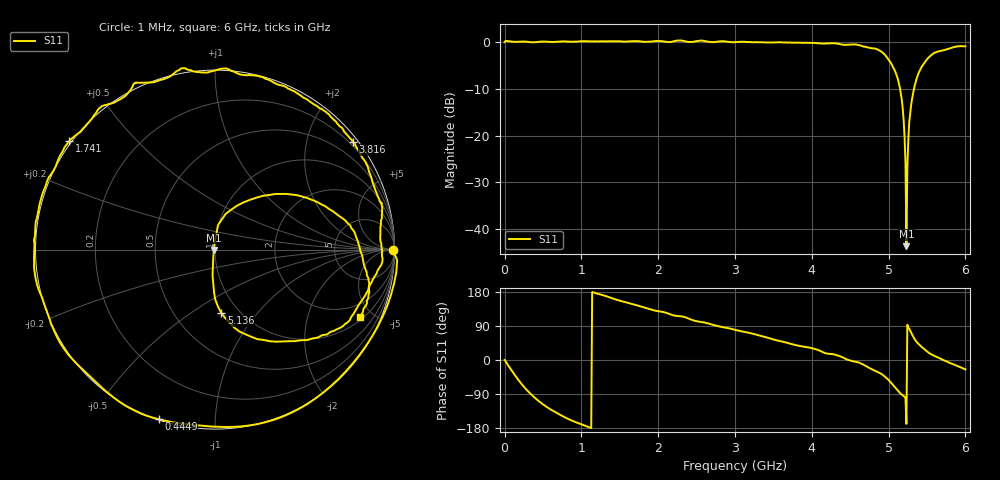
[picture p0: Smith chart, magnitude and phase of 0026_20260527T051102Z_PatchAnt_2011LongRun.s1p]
# Hz S RI R 50
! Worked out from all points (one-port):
!   501 points, 1 MHz to 6 GHz, reference 50 ohm
!   lowest |S11| = -43.6 dB at 5.232 GHz (marker M1), VSWR 1.01, Z = 49.4 - j0.13 ohm
!   |S11| at or under -10 dB: 5.149 GHz to 5.331 GHz (182.4 MHz wide, 3.48 % of centre)
!   S11 on the Smith chart (normalised r, x): 1 MHz: open; 444.9 MHz: 0.00, -0.72; 1.741 GHz: -0.01, +0.33; 3.816 GHz: 0.13, +2.90; 5.136 GHz: 0.83, -0.67; 6 GHz: 1.17, -4.24
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1000000  0.99 7.22e-05
8.4986e7  0.9058 -0.4311
2.16964e8  0.4685 -0.8869
3.0095e8  0.1464 -0.9851
4.44926e8  -0.3145 -0.9448
7.56874e8  -0.8559 -0.5305
1.056824e9  -1.007 -0.1069
1.50075e9  -0.9252 0.4046
1.74071e9  -0.8108 0.6055
2.256624e9  -0.4529 0.924
3.0005e9  0.1788 0.9711
3.756374e9  0.7363 0.6387
3.816364e9  0.7676 0.5991
4.308282e9  0.932 0.2286
4.50025e9  0.93 -0.0215
4.872188e9  0.6826 -0.4422
5.028162e9  0.3073 -0.5107
5.136144e9  0.035 -0.3521
5.184136e9  -0.00937 -0.1943
5.196134e9  -0.0136 -0.1459
5.208132e9  -0.0116 -0.0957
5.232128e9  -0.00649 -0.00131
5.256124e9  0.00788 0.0867
5.268122e9  0.0162 0.1358
5.292118e9  0.0586 0.198
5.412098e9  0.3969 0.3102
5.628062e9  0.773 0.1036
6e9  0.8087 -0.3734
